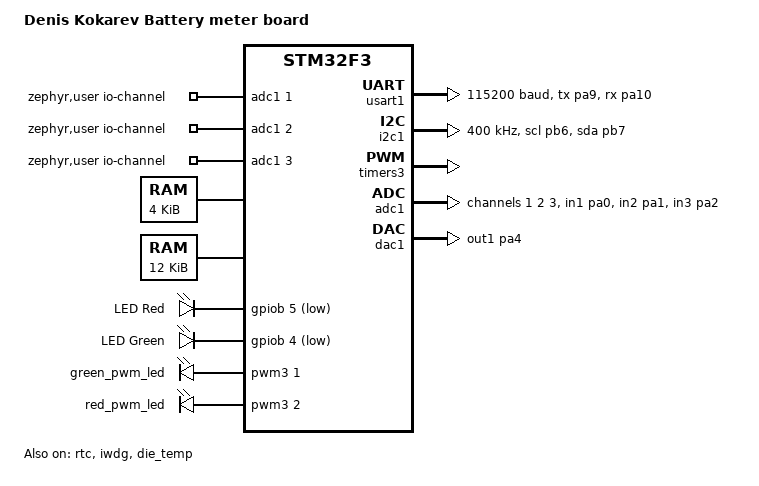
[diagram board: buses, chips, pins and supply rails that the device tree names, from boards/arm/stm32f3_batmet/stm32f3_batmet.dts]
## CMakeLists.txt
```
cmake_minimum_required(VERSION 3.20.0)
# Re-direct the directory where the 'boards' directory is found from
# $ZEPHYR_BASE to this directory.
set(BOARD_ROOT ${CMAKE_CURRENT_LIST_DIR})

set(BOARD stm32f3_batmet)

find_package(Zephyr REQUIRED HINTS $ENV{ZEPHYR_BASE})
project(batmet)

# common src
set(SRC src/main.c src/opamp.c src/adc.c src/dac.c src/led.c src/cmd.c)

if (CONFIG_SHELL)
    # if shell is enabled adding our commands
    list(APPEND SRC src/cli.c)
endif()

target_sources(app PRIVATE ${SRC})
```

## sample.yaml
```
sample:
  description: Battery Meter Board firmware
  name: Battery Meter
```

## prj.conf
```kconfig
CONFIG_CONSOLE_SUBSYS=y
CONFIG_CONSOLE_GETLINE=y

CONFIG_LOG=y
CONFIG_GPIO=y
CONFIG_DAC=y
CONFIG_ADC=y
# CONFIG_OPAMP is enabled in Kconfig.devconfig of the board
CONFIG_PWM=y
CONFIG_FPU=y # for efficiency, but takes ~300 bytes of .text and .data

CONFIG_FLASH=y
CONFIG_FLASH_MAP=y
CONFIG_FCB=y
CONFIG_SETTINGS=y
CONFIG_SETTINGS_FCB=y

# we don't use workq anyway
CONFIG_SYSTEM_WORKQUEUE_STACK_SIZE=512
```

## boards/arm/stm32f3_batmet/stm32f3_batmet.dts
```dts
/dts-v1/;
#include <mem.h>
#include <st/f3/stm32f334.dtsi>
#include "stm32f334k(4-6-8)tx-pinctrl.dtsi"

/ {
	model = "Denis Kokarev Battery meter board";
	compatible = "st,stm32f3_batmet";

	zephyr,user {
		dac = <&dac1>;
		dac-channel-id = <1>;
		dac-resolution = <12>;
		io-channels = <&adc1 1 &adc1 2 &adc1 3>;
	};

	ccm0: memory@10000000 {
		compatible = "zephyr,memory-region", "st,stm32-ccm";
		reg = <0x10000000 DT_SIZE_K(4)>;
		zephyr,memory-region = "CCM";
	};

	sram0: memory@20000000 {
		reg = <0x20000000 DT_SIZE_K(12)>;
	};

	soc {
		flash-controller@40022000 {
			flash0: flash@8000000 {
				reg = <0x08000000 DT_SIZE_K(64)>;
				erase-block-size = <DT_SIZE_K(1)>;
			};
		};
	};

	chosen {
		zephyr,console = &usart1;
		zephyr,shell-uart = &usart1;
		zephyr,sram = &sram0;
		zephyr,flash = &flash0;
		zephyr,ccm = &ccm0;
	};

	leds {
		// wtf, something is wrong with gpios
		// in order to make active high have to set it low???
		compatible = "gpio-leds";
		red_led: led_1 {
			gpios = <&gpiob 5 GPIO_ACTIVE_LOW>;
			label = "LED Red";
		};
		green_led: led_2 {
			gpios = <&gpiob 4 GPIO_ACTIVE_LOW>;
			label = "LED Green";
		};
	};

	pwmleds: pwmleds {
		compatible = "pwm-leds";
		status = "okay";

		green_pwm_led: green_pwm_led {
			pwms = <&pwm3 1 PWM_MSEC(20) PWM_POLARITY_NORMAL>;
		};
		red_pwm_led: red_pwm_led {
			pwms = <&pwm3 2 PWM_MSEC(20) PWM_POLARITY_NORMAL>;
		};
	};

	gpio_keys {
		compatible = "gpio-keys";
	};

	aliases {
		ledr = &red_led;
		ledg = &green_led;
		watchdog0 = &iwdg;
		pledg = &green_pwm_led;
		pledr = &red_pwm_led;
	};
};

&clk_lsi {
	status = "okay";
};

&clk_hsi {
	clock-frequency = <DT_FREQ_M(8)>;
	status = "okay";
};

&pll {
	prediv = <2>;
	mul = <9>;
	clocks = <&clk_hsi>;
	status = "okay";
};

&rcc {
	clocks = <&pll>;
	clock-frequency = <DT_FREQ_M(36)>;
	ahb-prescaler = <1>;
	apb1-prescaler = <1>; // may not be /2, otherwise uart is reduced twice
	apb2-prescaler = <1>;
};

&usart1 {
	pinctrl-0 = <&usart1_tx_pa9 &usart1_rx_pa10>;
	pinctrl-names = "default";
	current-speed = <115200>;
	hw-flow-control;
	parity = "none";
	status = "okay";
};

&i2c1 {
	pinctrl-0 = <&i2c1_scl_pb6 &i2c1_sda_pb7>;
	pinctrl-names = "default";
	status = "okay";
	clock-frequency = <I2C_BITRATE_FAST>;
};

&rtc {
	clocks = <&rcc STM32_CLOCK_BUS_APB1 0x10000000>,
		 <&rcc STM32_SRC_LSI RTC_SEL(2)>;
	status = "okay";
};

// /delete-node/ &storage_partition;

&flash0 {
	partitions {
		compatible = "fixed-partitions";
		#address-cells = <1>;
		#size-cells = <1>;

		// we're not using mcuboot, so boot partition doesn't matter, but
		// NB!!! If using FCB, the image size must not exceed 60k
		// If FCB is not used, the partition map doesn't matter, all 64k
		// may be used as code
		boot_partition: partition@0 {
			reg = <0x0 DT_SIZE_K(60)>;
			read-only;
		};

		// Set 2 x 2k sector of storage at the end of the 64Kb of flash
		storage_partition: partition@f000 {
			label = "storage";
			reg = <0xf000 DT_SIZE_K(4)>;
		};
	};
};

&iwdg {
	status = "okay";
};

&timers3 {
	st,prescaler = <10000>;
	status = "okay";
	pwm3: pwm {
		status = "okay";
		pinctrl-0 = <&tim3_ch1_pb4>, <&tim3_ch2_pb5>;
		pinctrl-names = "default";
	};
};

&adc1 {
	#address-cells = <1>;
	#size-cells = <0>;
	pinctrl-0 = <&adc1_in1_pa0 &adc1_in2_pa1 &adc1_in3_pa2>;
	pinctrl-names = "default";

	channel@1 {
		reg = <1>;
		zephyr,gain = "ADC_GAIN_1";
		zephyr,reference = "ADC_REF_INTERNAL";
		zephyr,acquisition-time = <ADC_ACQ_TIME_DEFAULT>;
		zephyr,resolution = <12>;
	};
	channel@2 {
		reg = <2>;
		zephyr,gain = "ADC_GAIN_1";
		zephyr,reference = "ADC_REF_INTERNAL";
		zephyr,acquisition-time = <ADC_ACQ_TIME_DEFAULT>;
		zephyr,resolution = <12>;
	};
	channel@3 {
		reg = <3>;
		zephyr,gain = "ADC_GAIN_1";
		zephyr,reference = "ADC_REF_INTERNAL";
		zephyr,acquisition-time = <ADC_ACQ_TIME_DEFAULT>;
		zephyr,resolution = <12>;
	};
	status = "okay";
};

&die_temp {
	status = "okay";
};

&dac1 {
	status = "okay";
	/* dac output pins(pa4,pa5,pa6) might conflict with spi1 pins */
	pinctrl-0 = <&dac1_out1_pa4>;
	pinctrl-names = "default";
};

&dma1 {
	status = "okay";
};
```

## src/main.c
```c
#include <stdlib.h>
#include <zephyr/kernel.h>
#include <zephyr/logging/log.h>
#include <zephyr/settings/settings.h>
#include <zephyr/console/console.h>

#define LOG_REGISTERED

#include "main.h"
#include "opamp.h"

LOG_MODULE_REGISTER(batmet, LOG_LEVEL_DBG);

void Error_Handler() {
	LOG_ERR("opamp initialization error");
}


int main(void) {
	console_getline_init();

	int rc = led_init();
	if (rc) {
		return rc;
	}
	led_set(LED_GREEN, LED_OFF);
	led_set(LED_RED, LED_MAX);

	rc = dac_do_init();
	if (rc) {
		return rc;
	}

	MX_OPAMP2_Init();
	rc = HAL_OPAMP_Start(&hopamp2);
	if (rc != HAL_OK) {
		LOG_ERR("opamp start error: %d", rc);
		return -5;
	}

	rc = adc_init();
	if (rc) {
		LOG_ERR("ADC init error: %d", rc);
		return -6;
	}

	rc = settings_subsys_init();
	if (rc) {
		LOG_ERR("settings subsys initialization: fail (err %d)", rc);
		return -7;
	}
	LOG_INF("settings subsys initialization: OK");
	rc = settings_load();
	if (rc) {
		LOG_ERR("settings_load: fail (err %d)", rc);
		return -8;
	}
	LOG_INF("settings_load: OK");

	led_set(LED_RED, LED_OFF);
	led_set(LED_GREEN, LED_ON);
	while (1) {
#ifndef CONFIG_SHELL
		cmd_proc();
#else
		k_sleep(K_MSEC(1));
#endif
	}

	return 0;
}
```

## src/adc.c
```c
#include <zephyr/device.h>
#include <zephyr/devicetree.h>
#include <zephyr/drivers/adc.h>
#include <zephyr/kernel.h>
#include "main.h"

#if !DT_NODE_EXISTS(DT_PATH(zephyr_user)) || \
    !DT_NODE_HAS_PROP(DT_PATH(zephyr_user), io_channels)
#error "No suitable devicetree overlay specified"
#endif

#define DT_SPEC_AND_COMMA(node_id, prop, idx) \
    ADC_DT_SPEC_GET_BY_IDX(node_id, idx),

#define NCHAN   DT_PROP_LEN(DT_PATH(zephyr_user), io_channels)

/* Data of ADC io-channels specified in devicetree. */
static const struct adc_dt_spec adc_channels[] = {
		DT_FOREACH_PROP_ELEM(DT_PATH(zephyr_user), io_channels,
		                     DT_SPEC_AND_COMMA)
};

static int16_t buf[NCHAN];

static struct adc_sequence sequence[NCHAN] = {
		{
				.buffer = &buf[0],
				.buffer_size = sizeof(buf[0]),
		},
		{
				.buffer = &buf[1],
				.buffer_size = sizeof(buf[1]),
		},
		{
				.buffer = &buf[2],
				.buffer_size = sizeof(buf[2]),
		},
};

static const char *adc_chan_name[NCHAN] = {
		"EXT",
		"PSUPPLY",
		"SENS"
};

int adc_init() {

	/* Configure channels individually prior to sampling. */
	for (size_t i = 0U; i < ARRAY_SIZE(adc_channels); i++) {
		if (!device_is_ready(adc_channels[i].dev)) {
			LOG_ERR("ADC controller device not ready");
			return -EINVAL;
		}

		int rc = adc_channel_setup_dt(&adc_channels[i]);
		if (rc < 0) {
			LOG_ERR("Could not setup channel #%d (%d)", i, rc);
			return -EINVAL;
		}
		rc = adc_sequence_init_dt(&adc_channels[i], &sequence[i]);
		if (rc < 0) {
			LOG_ERR("Could not setup channel #%d sequence (%d)", i, rc);
			return -EINVAL;
		}
	}
	return 0;
}

static float adc2v(float adc) {
	return 3.197713845068536e-10 * adc * adc + 0.0008332518627677381 * adc + -0.09870571280531593;
}

void adc_do_sample() {
	for (size_t i = 0U; i < ARRAY_SIZE(adc_channels); i++) {
		int err = adc_read(adc_channels[i].dev, &sequence[i]);
		if (err < 0) {
			LOG_ERR("- %s, channel %d: error: %d ",
			        adc_channels[i].dev->name,
			        adc_channels[i].channel_id,
			        err);
		} else {
			printk("- %s, channel %d (%s): %"PRId16" (%.3f) V\n",
			       adc_channels[i].dev->name,
			       adc_channels[i].channel_id,
			       adc_chan_name[i],
			       buf[i],
				   adc2v(buf[i])
			);
		}
	}
}
```

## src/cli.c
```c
#include <stdlib.h>
#include <zephyr/kernel.h>
#include <zephyr/shell/shell.h>
#include "main.h"

static int cmd_d(const struct shell *sh, size_t argc, char **argv) {
	char *s;
	long d = strtol(argv[1], &s, 10);
	if (*s != 0) {
		shell_error(sh, "the voltage should be a number");
		return -EINVAL;
	}
	int rc = dac_set_d(d);
	if (rc) {
		shell_error(sh, "could not set voltage with error: %d", rc);
	}
	return 0;
}

static int cmd_v(const struct shell *sh, size_t argc, char **argv) {
	float v;
	int rc = my_strtof(&v, argv[1]);
	if (rc || v < 0) {
		shell_error(sh, "the voltage should be a positive number");
		return -EINVAL;
	}
	shell_print(sh, "setting voltage %f", v);
	rc = dac_set_v(v);
	if (rc) {
		shell_error(sh, "could not set voltage with error: %d", rc);
	}
	return 0;
}

static int cmd_dac_cycle(const struct shell *shell, size_t argc, char **argv, void *data) {
	run_dac_cycle = (intptr_t) data;
	shell_print(shell, "dac_cycle = %s", run_dac_cycle ? "on" : "off");
	return 0;
}

SHELL_SUBCMD_DICT_SET_CREATE(sub_dac_cycle_cmds, cmd_dac_cycle, (off, 0, "stop"), (on, 1, "start"));

SHELL_STATIC_SUBCMD_SET_CREATE(sub_batmet,
                               SHELL_CMD_ARG(d, NULL, "Set DAC value [0..4095]", cmd_d, 2, 0),
                               SHELL_CMD_ARG(v, NULL, "Set desired voltage", cmd_v, 2, 0),
                               SHELL_CMD(dac_cycle, &sub_dac_cycle_cmds, "Start/Stop Dac cycle", NULL),
                               SHELL_SUBCMD_SET_END
);

SHELL_CMD_REGISTER(bm, &sub_batmet, "Battery meter commands", NULL);
```

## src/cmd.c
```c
#include <stdlib.h>
#include <zephyr/console/console.h>
#include "main.h"

/*******************************************
 * Custom cmd-line module when shell is not available
 ********************************************/

/**
 * convert string to float
 * @param res resulting floating number
 * @param str src string
 * @return 0 on success of -EINVAL on err
 */
int my_strtof(float *res, const char *str) {
	char *s;
	long hi = strtol(str, &s, 10);
	long lo = 0;
	long df = 1;
	if (errno) {
		return -EINVAL;
	}
	if (*s == '.') {
		s++;
		char *sf;
		lo = strtol(s, &sf, 10);
		if (errno || lo < 0) {
			return -EINVAL;
		}
		int l = sf - s;
		s = sf;
		while (l--) {
			df *= 10;
		}
	}
	if (*s != 0) {
		return -EINVAL;
	}
	if (hi < 0) {
		lo = -lo;
	}
	*res = (double) hi + ((double) lo) / df;
	return 0;
}

static void cmd_help(int argc, char **argv) {
	printk("Supported commands:\n"
	       "\tsink <amperes> - set desired current sink\n"
	       "\td <dac_value> - set dac output value [0..4095]\n"
	       "\ta - sample all ADC channels\n"
	       "\tcsink <min> <max> <a> <b> <c> - store current sink calibration coefficients from cal_i2d.py computation\n"
	);
}

static void cmd_sink(int argc, char *argv[]) {
	if (argc < 2) {
		printk("expecting only one argument - current\n");
	}
	float a;
	int rc = my_strtof(&a, argv[1]);
	if (rc || a < 0) {
		printk("the current must be positive number\n");
	} else {
		rc = dac_set_current(a);
		if (rc) {
			printk("could not set sink current with error: %s\n", dac_err_str(rc));
		} else {
			if (a > 0) {
				printk("sinking = %f A\n", a);
				led_flow(LED_GREEN, LED_FLOW_NORMAL);
			} else {
				printk("sink = off\n");
				led_set(LED_GREEN, LED_ON);
			}
		}
	}
}

static void cmd_d(int argc, char *argv[]) {
	if (argc < 2) {
		printk("expecting only one argument - dac [0..4095]\n");
	}
	char *endp;
	int d = strtol(argv[1], &endp, 10);
	if (d < 0 || d > 4095 || !(*endp == '\r' || *endp == '\n' || *endp == '\t' || *endp == ' ' || *endp == 0)) {
		printk("DAC value must be a number [0..4095]\n");
	} else {
		int rc = dac_set_d(d);
		if (rc) {
			printk("could not set DAC value, error: %s\n", dac_err_str(rc));
		} else {
			if (d > 0) {
				printk("DAC = %d\n", d);
				led_flow(LED_GREEN, LED_FLOW_NORMAL);
			} else {
				printk("DAC = off\n");
				led_set(LED_GREEN, LED_ON);
			}
		}
	}
}

static void cmd_a(int argc, char *argv[]) {
	adc_do_sample();
}

static void cmd_csink(int argc, char *argv[]) {
	if (argc != 6) {
		printk("expecting 5 args: cals <min> <max> <a> <b> <c>\n");
		return;
	}
	float f[5];
	for (int i = 1; i < 6; i++) {
		int rc = my_strtof(&f[i - 1], argv[i]);
		if (rc) {
			printk("%d-th argument to csink must be a floating number, got %s instead\n", i, argv[i]);
			return;
		}
	}
	dac_err_t rc = dac_set_calibration(f[0], f[1], f[2], f[3], f[4]);
	if (rc) {
		printk("csink failed with %s\n", dac_err_str(rc));
	}
}


static void proc_line(char *s) {
	static const char sep[] = " \t";
	char *tok[6] = {};
	int tok_sz = 0;
	char *br;
	for (s = strtok_r(s, sep, &br); s; s = strtok_r(NULL, sep, &br)) {
		tok[tok_sz++] = s;
		if (tok_sz >= ARRAY_SIZE(tok)) {
			break;
		}
	}
	if (tok_sz > 0) {
		if (strcmp(tok[0], "help") == 0 || strcmp(tok[0], "h") == 0 || strcmp(tok[0], "?") == 0) {
			cmd_help(tok_sz, tok);
		} else if (strcmp(tok[0], "s") == 0 || strcmp(tok[0], "sink") == 0) {
			cmd_sink(tok_sz, tok);
		} else if (strcmp(tok[0], "d") == 0 || strcmp(tok[0], "dac") == 0) {
			cmd_d(tok_sz, tok);
		} else if (strcmp(tok[0], "a") == 0 || strcmp(tok[0], "adc") == 0) {
			cmd_a(tok_sz, tok);
		} else if (strcmp(tok[0], "cs") == 0 || strcmp(tok[0], "csink") == 0) {
			cmd_csink(tok_sz, tok);
		} else {
			printk("Unknown command '%s', try help\n", tok[0]);
		}
	}
}

/**
 * Process one input command
 */
void cmd_proc() {
	printk("$ ");
	char *s = console_getline();
	proc_line(s);
}
```

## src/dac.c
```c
#include <zephyr/kernel.h>
#include <zephyr/drivers/dac.h>
#include <zephyr/settings/settings.h>
#include "main.h"

// increment each time CALIBRATE struct changes
#define CALIBRATION_VER 1

#define ZEPHYR_USER_NODE DT_PATH(zephyr_user)

#if (DT_NODE_HAS_PROP(ZEPHYR_USER_NODE, dac) && \
    DT_NODE_HAS_PROP(ZEPHYR_USER_NODE, dac_channel_id) && \
    DT_NODE_HAS_PROP(ZEPHYR_USER_NODE, dac_resolution))
#define DAC_NODE DT_PHANDLE(ZEPHYR_USER_NODE, dac)
#define DAC_CHANNEL_ID DT_PROP(ZEPHYR_USER_NODE, dac_channel_id)
#define DAC_RESOLUTION DT_PROP(ZEPHYR_USER_NODE, dac_resolution)
#else
#error "Unsupported board: see README and check /zephyr,user node"
#define DAC_NODE DT_INVALID_NODE
#define DAC_CHANNEL_ID 0
#define DAC_RESOLUTION 0
#endif

static const struct device *const dac_dev = DEVICE_DT_GET(DAC_NODE);

static const struct dac_channel_cfg dac_ch_cfg = {
		.channel_id  = DAC_CHANNEL_ID,
		.resolution  = DAC_RESOLUTION
};

const char *dac_err_str(dac_err_t err) {
	static const char *dac_err[DAC_ERR_SZ] = {
			[DAC_OK] = "Success",
			[DAC_ERR_RANGE] = "Out of range",
			[DAC_ERR_LOW] = "Too low",
			[DAC_ERR_HIGH] = "Too high",
			[DAC_ERR_WRITE] = "DAC Write Error",
			[DAC_ERR_NO_CALIB] = "Not calibrated",
			[DAC_ERR_SAVE_CALIBRATION] = "Cannot save calibration",
	};

	return dac_err[err];
}

dac_err_t dac_do_init() {
	if (!device_is_ready(dac_dev)) {
		LOG_ERR("DAC device %s is not ready", dac_dev->name);
		return DAC_ERR_DEVICE_NOT_READY;
	}

	int rc = dac_channel_setup(dac_dev, &dac_ch_cfg);
	if (rc != 0) {
		LOG_ERR("Setting up of DAC channel failed with code %d", rc);
		return DAC_ERR_CHANNEL_SETUP;
	}
	return DAC_OK;
}

typedef struct {
	int ver; // should be 1st
	float min;
	float max;
	float a;
	float b;
	float c;
} CALIBRATE;

static CALIBRATE cal_dac;

int cal_handle_set(const char *name, size_t len, settings_read_cb read_cb, void *cb_arg) {
	ARG_UNUSED(len);
	const char *next;
	size_t name_len = settings_name_next(name, &next);
	if (!next && !strncmp(name, "dac", name_len)) {
		return read_cb(cb_arg, &cal_dac, sizeof(cal_dac)) != sizeof(cal_dac); // 0 means success
	} else {
		return -ENOENT;
	}
}

SETTINGS_STATIC_HANDLER_DEFINE(batmet_dac, "cal",
                               NULL,
                               cal_handle_set,
                               NULL,
                               NULL
);

dac_err_t dac_set_calibration(float mn, float mx, float a, float b, float c) {
	cal_dac = (CALIBRATE) {
			.ver = CALIBRATION_VER,
			.min = mn,
			.max = mx,
			.a = a,
			.b = b,
			.c = c
	};
	int rc = settings_save_one("cal/dac", &cal_dac, sizeof(cal_dac));
	if (rc < 0) {
		LOG_ERR("settings_save_one() error %d", rc);
		return DAC_ERR_SAVE_CALIBRATION;
	} else {
		LOG_INF("cal dac saved: ver=%d, min=%f, max=%f, a=%f, b=%f, c=%f", CALIBRATION_VER, mn, mx, a, b, c);
		return DAC_OK;
	}
}

/**
 * @param dac - value for the given current
 * @param amp - current
 * @return 0 if no error
 */
static dac_err_t curr2dac(int *dac, float amp) {
	if (cal_dac.ver < CALIBRATION_VER) {
		return DAC_ERR_NO_CALIB;
	}
	if (amp < cal_dac.min) {
		return DAC_ERR_LOW;
	} else if (amp > cal_dac.max) {
		return DAC_ERR_HIGH;
	} else {
		float d = cal_dac.a * amp * amp + cal_dac.b * amp + cal_dac.c;
		*dac = (int) (d + 0.5);
		return DAC_OK;
	}
}

dac_err_t dac_set_current(float amp) {
	int d;
	int rc = curr2dac(&d, amp);
	if (rc != DAC_OK) {
		return rc;
	}
	rc = dac_write_value(dac_dev, DAC_CHANNEL_ID, d);
	if (rc != 0) {
		LOG_ERR("dac_write_value() failed with code %d", rc);
		return DAC_ERR_WRITE;
	}
	return DAC_OK;
}

dac_err_t dac_set_d(int d) {
	if (d < 0 || d > 4095) {
		LOG_ERR("supported DAC values [0..4095]");
		return DAC_ERR_RANGE;
	}
	int rc = dac_write_value(dac_dev, DAC_CHANNEL_ID, d);
	if (rc != 0) {
		LOG_ERR("dac_write_value() failed with code %d", rc);
		return DAC_ERR_WRITE;
	}
	return DAC_OK;
}
```

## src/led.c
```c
#include <zephyr/drivers/pwm.h>
#include <zephyr/kernel.h>
#include "main.h"

#define M_PI        3.14159265358979323846
#define M_PI_2      1.57079632679489661923

// base blinking period
#define PERIOD (PWM_SEC(1U) / 256)

static const struct pwm_dt_spec leds[LED_SZ] = {
		PWM_DT_SPEC_GET(DT_ALIAS(pledr)),
		PWM_DT_SPEC_GET(DT_ALIAS(pledg))
};

typedef struct {
	struct k_work_delayable update_work;
	led_t led;
	float hz;
} led_ctx_t;

led_ctx_t led_ctx[LED_SZ];

#define SIN_PI2_SZ  16

// saving about 3KB by using no libm
static float crude_sinf(float x) {
	static const float sin_pi2[SIN_PI2_SZ + 1] = {
			0.0,
			0.0980171403295606,
			0.19509032201612825,
			0.29028467725446233,
			0.3826834323650898,
			0.47139673682599764,
			0.5555702330196022,
			0.6343932841636455,
			0.7071067811865475,
			0.7730104533627369,
			0.8314696123025451,
			0.8819212643483549,
			0.9238795325112867,
			0.9569403357322089,
			0.9807852804032304,
			0.9951847266721968,
			1.0,
	};
	static const float f = M_PI_2 / SIN_PI2_SZ;
	int p = x / (2 * M_PI);
	x -= p * (2 * M_PI);
	p = x / M_PI_2;
	x -= p * M_PI_2;
	int i = x / f;
	switch (p) {
		case 0:
			return sin_pi2[i];
		case 2:
			return -sin_pi2[i];
		case 1:
			return sin_pi2[SIN_PI2_SZ - i];
		case 3:
			return -sin_pi2[SIN_PI2_SZ - i];
		default:
			return 0; // __ASSERT("must not get here");
	}
}

// update LED duty cycle this often
#define FLOW_UPDATE_T K_MSEC(1000 / 16)

/**
 * Periodic job that updates LED PWM level. Started by led_flow()
 * @param work
 */
static void led_update_handler(struct k_work *work) {
	struct k_work_delayable *dwork = k_work_delayable_from_work(work);
	led_ctx_t *ctx = CONTAINER_OF(dwork, led_ctx_t, update_work);
	float t_sec = ((float)k_uptime_get()) / 1000;
	float w = t_sec * M_PI * ctx->hz; // using sin^2, which has period Pi
	float s = crude_sinf(w);
	uint8_t d = s * s * LED_MAX;
	led_set(ctx->led, d);
	k_work_reschedule(dwork, FLOW_UPDATE_T); // re-trigger next invocation
	LOG_DBG("updated %d led to duty %d", ctx->led, d);
}

/**
 * Init LEDs and associated PWM manager
 * @return 0 on success
 */
int led_init() {
	for (int led = 0; led < ARRAY_SIZE(leds); led++) {
		if (!device_is_ready(leds[led].dev)) {
			LOG_ERR("Error: PWM device %s is not ready\n",
			        leds[led].dev->name);
			return -1;
		}
		led_ctx[led].led = led;
		k_work_init_delayable(&led_ctx[led].update_work, led_update_handler);
	}
	return 0;
}

/**
 * Glow the given LED at certain level.
 * @param led LED_RED or LED_GREEN
 * @param duty 0 => dark, 255 => glow 100%
 */
void led_set(led_t led, uint8_t duty) {
	k_work_cancel_delayable(&led_ctx[led].update_work);
	unsigned t = PERIOD;
	unsigned p = t * duty / UINT8_MAX;
	int rc = pwm_set_dt(&leds[led], t, p);
	LOG_DBG("setting led %d, to period %d, pulse %d", led, t, p);
	if (rc) {
		LOG_ERR("cannot set led %d pwm", led);
	}
}

/**
 * Automatically change LED glowing level.
 * It'll become brighter/darker in sinusoidal fashion.
 * @param led LED_RED or LED_GREEN
 * @param hz frequency in Hz, e.g: 1.0/3 means every 3 seconds
 */
void led_flow(led_t led, float hz) {
	led_ctx[led].hz = hz;
	k_work_schedule(&led_ctx[led].update_work, FLOW_UPDATE_T);
}
```

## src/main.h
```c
//
// Created by Denis Kokarev on 6/12/23.
//

#ifndef BATMET_MAIN_H
#define BATMET_MAIN_H

#include <zephyr/logging/log.h>
#include "soc.h"

#ifndef LOG_REGISTERED
LOG_MODULE_DECLARE(batmet, LOG_LEVEL_INF);
#endif

// CubeMX-compatible error handler
void Error_Handler();

/**
 * convert string to float
 * @param res resulting floating number
 * @param str src string
 * @return 0 on success of -EINVAL on err
 */
int my_strtof(float *res, const char *str);

int adc_init();

void adc_do_sample();

typedef enum {
	DAC_OK = 0,
	DAC_ERR_DEVICE_NOT_READY,
	DAC_ERR_CHANNEL_SETUP,
	DAC_ERR_RANGE,
	DAC_ERR_LOW,
	DAC_ERR_HIGH,
	DAC_ERR_WRITE,
	DAC_ERR_NO_CALIB,
	DAC_ERR_SAVE_CALIBRATION,
	DAC_ERR_SZ,
} dac_err_t;

const char *dac_err_str(dac_err_t err);

dac_err_t dac_do_init();

dac_err_t dac_set_d(int d);

dac_err_t dac_set_current(float v);

dac_err_t dac_set_calibration(float mn, float mx, float a, float b, float c);

/************** LED ***************/

typedef enum {
	LED_GREEN = 0,
	LED_RED,
	LED_SZ
} led_t;

#define LED_MAX ((uint8_t)255)
#define LED_HALF ((uint8_t)127)
#define LED_OFF ((uint8_t)0)
#define LED_ON  LED_MAX

#define LED_FLOW_SLOW (1.0/3)
#define LED_FLOW_NORMAL 1.0
#define LED_FLOW_FAST 2.0

/**
 * Init LEDs and associated PWM manager
 * @return 0 on success
 */
int led_init();

/**
 * Glow the given LED at certain level.
 * @param led LED_RED or LED_GREEN
 * @param duty 0 => dark, 255 => glow 100%
 */
void led_set(led_t led, uint8_t duty);

/**
 * Automatically change LED glowing level.
 * It'll become brighter/darker in sinusoidal fashion.
 * @param led LED_RED or LED_GREEN
 * @param hz frequency in Hz, e.g: 1.0/3 means every 3 seconds
 */
void led_flow(led_t led, float freq);

/**
 * Process one input command
 */
void cmd_proc();

#endif //BATMET_MAIN_H
```

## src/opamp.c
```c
/* USER CODE BEGIN Header */
/**
  ******************************************************************************
  *
  * Zephyr doesn't support STM32 OpAmp device. Instead we generate a CubeMX project
  * with initialized OpAmp and copy-paste opamp.[ch] file into our src
  * This also requires USE_STM32_HAL_OPAMP and USE_STM32_HAL_GPIO options set
  *
  ******************************************************************************
  */
/* USER CODE END Header */
/* Includes ------------------------------------------------------------------*/
#include "opamp.h"

/* USER CODE BEGIN 0 */

/* USER CODE END 0 */

OPAMP_HandleTypeDef hopamp2;

/* OPAMP2 init function */
void MX_OPAMP2_Init(void)
{

  /* USER CODE BEGIN OPAMP2_Init 0 */

  /* USER CODE END OPAMP2_Init 0 */

  /* USER CODE BEGIN OPAMP2_Init 1 */

  /* USER CODE END OPAMP2_Init 1 */
  hopamp2.Instance = OPAMP2;
  hopamp2.Init.Mode = OPAMP_STANDALONE_MODE;
  hopamp2.Init.NonInvertingInput = OPAMP_NONINVERTINGINPUT_IO0;
  hopamp2.Init.InvertingInput = OPAMP_INVERTINGINPUT_IO1;
  hopamp2.Init.TimerControlledMuxmode = OPAMP_TIMERCONTROLLEDMUXMODE_DISABLE;
  hopamp2.Init.UserTrimming = OPAMP_TRIMMING_FACTORY;
  if (HAL_OPAMP_Init(&hopamp2) != HAL_OK)
  {
    Error_Handler();
  }
  /* USER CODE BEGIN OPAMP2_Init 2 */

  /* USER CODE END OPAMP2_Init 2 */

}

void HAL_OPAMP_MspInit(OPAMP_HandleTypeDef* opampHandle)
{

  GPIO_InitTypeDef GPIO_InitStruct = {0};
  if(opampHandle->Instance==OPAMP2)
  {
  /* USER CODE BEGIN OPAMP2_MspInit 0 */

  /* USER CODE END OPAMP2_MspInit 0 */

    __HAL_RCC_GPIOA_CLK_ENABLE();
    /**OPAMP2 GPIO Configuration
    PA5     ------> OPAMP2_VINM
    PA6     ------> OPAMP2_VOUT
    PA7     ------> OPAMP2_VINP
    */
    GPIO_InitStruct.Pin = GPIO_PIN_5|GPIO_PIN_6|GPIO_PIN_7;
    GPIO_InitStruct.Mode = GPIO_MODE_ANALOG;
    GPIO_InitStruct.Pull = GPIO_NOPULL;
    HAL_GPIO_Init(GPIOA, &GPIO_InitStruct);

  /* USER CODE BEGIN OPAMP2_MspInit 1 */

  /* USER CODE END OPAMP2_MspInit 1 */
  }
}

void HAL_OPAMP_MspDeInit(OPAMP_HandleTypeDef* opampHandle)
{

  if(opampHandle->Instance==OPAMP2)
  {
  /* USER CODE BEGIN OPAMP2_MspDeInit 0 */

  /* USER CODE END OPAMP2_MspDeInit 0 */

    /**OPAMP2 GPIO Configuration
    PA5     ------> OPAMP2_VINM
    PA6     ------> OPAMP2_VOUT
    PA7     ------> OPAMP2_VINP
    */
    HAL_GPIO_DeInit(GPIOA, GPIO_PIN_5|GPIO_PIN_6|GPIO_PIN_7);

  /* USER CODE BEGIN OPAMP2_MspDeInit 1 */

  /* USER CODE END OPAMP2_MspDeInit 1 */
  }
}

/* USER CODE BEGIN 1 */

/* USER CODE END 1 */
```
